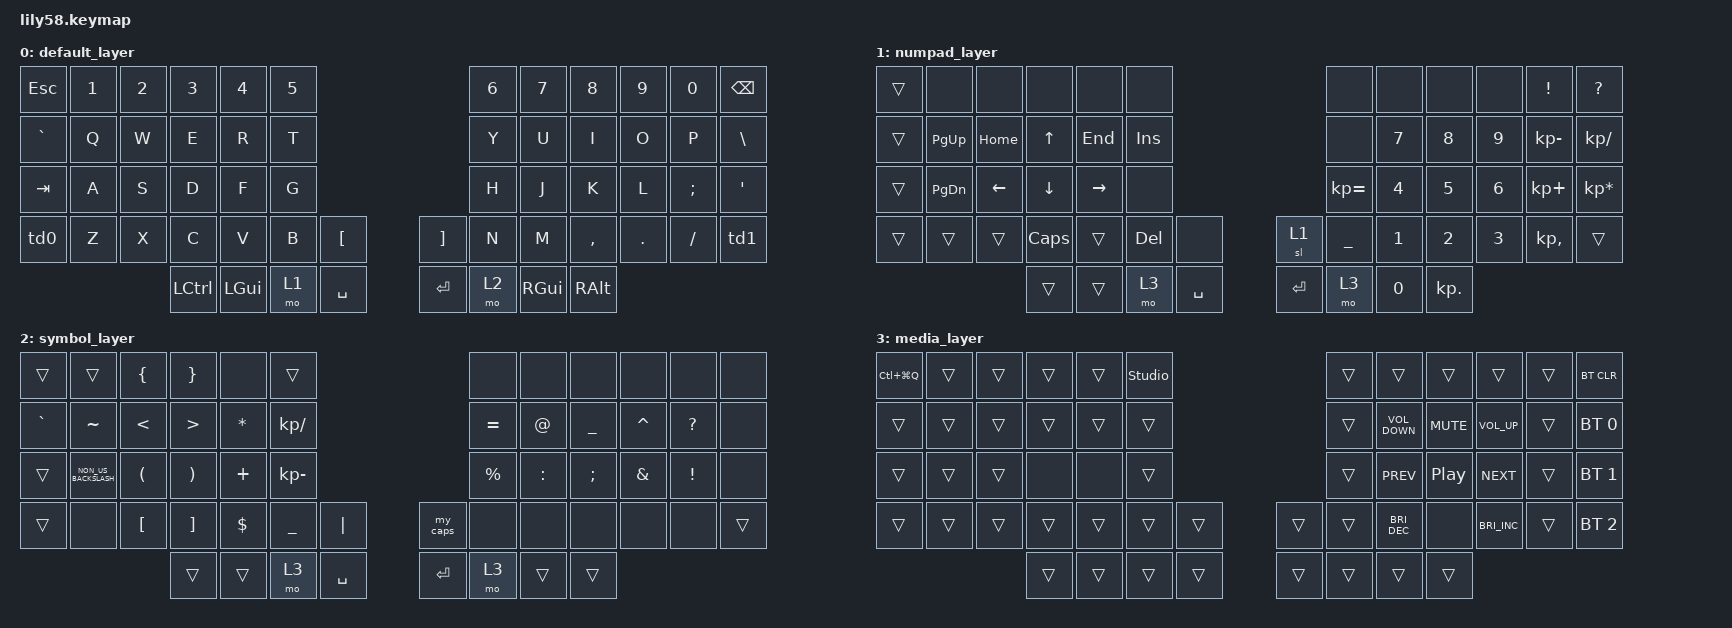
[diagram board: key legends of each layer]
/*
 * Copyright (c) 2020 The ZMK Contributors
 *
 * SPDX-License-Identifier: MIT
 */

#include <behaviors.dtsi>
#include <dt-bindings/zmk/bt.h>
#include <dt-bindings/zmk/keys.h>

/ {
    combos {
        compatible = "zmk,combos";

        LNG {
            bindings = <&kp LG(SPACE)>;
            key-positions = <36 49>;
            slow-release;
            require-prior-idle-ms = <0>;
        };
    };

    behaviors {
        td0: tap_dance_0 {
            compatible = "zmk,behavior-tap-dance";
            #binding-cells = <0>;
            tapping-term-ms = <5>;
            bindings = <&kp LSHFT>, <&kp CAPSLOCK>;
        };

        td1: tap_dance_1 {
            compatible = "zmk,behavior-tap-dance";
            #binding-cells = <0>;
            tapping-term-ms = <5>;
            bindings = <&kp LSHFT>, <&kp LG(SPACE)>;
        };

        my_caps: my_caps {
            compatible = "zmk,behavior-caps-word";
            label = "MY_CAPS";
            #binding-cells = <0>;
            continue-list = <A B C D E F G H I J K L M N O P Q R S T U V W X Y Z>;
        };

        td2: tap_dance_2 {
            compatible = "zmk,behavior-tap-dance";
            #binding-cells = <0>;
            bindings = <&kp LEFT_BRACKET>, <&kp LC(LG(Q))>;

            tapping-term-ms = <5>;
        };
    };

    keymap {
        compatible = "zmk,keymap";

        default_layer {
            // ------------------------------------------------------------------------------------------------------------
            // |  ESC  |  1  |  2  |  3   |  4   |  5   |                   |  6   |  7    |  8    |  9   |   0   |   `   |
            // |  TAB  |  Q  |  W  |  E   |  R   |  T   |                   |  Y   |  U    |  I    |  O   |   P   |   -   |
            // |  CTRL |  A  |  S  |  D   |  F   |  G   |                   |  H   |  J    |  K    |  L   |   ;   |   '   |
            // | SHIFT |  Z  |  X  |  C   |  V   |  B   |   "["  |  |  "]"  |  N   |  M    |  ,    |  .   |   /   | SHIFT |
            //                     | ALT  | GUI  | LOWER|  SPACE |  | ENTER | RAISE| BSPC  | GUI   |

            bindings = <
&kp ESCAPE  &kp N1  &kp N2  &kp N3     &kp N4        &kp N5                                         &kp N6  &kp N7    &kp N8         &kp N9   &kp N0    &kp BACKSPACE
&kp GRAVE   &kp Q   &kp W   &kp E      &kp R         &kp T                                          &kp Y   &kp U     &kp I          &kp O    &kp P     &kp BACKSLASH
&kp TAB     &kp A   &kp S   &kp D      &kp F         &kp G                                          &kp H   &kp J     &kp K          &kp L    &kp SEMI  &kp SQT
&td0        &kp Z   &kp X   &kp C      &kp V         &kp B   &kp LEFT_BRACKET    &kp RIGHT_BRACKET  &kp N   &kp M     &kp COMMA      &kp DOT  &kp FSLH  &td1
                            &kp LCTRL  &kp LEFT_GUI  &mo 1   &kp SPACE           &kp RET            &mo 2   &kp RGUI  &kp RIGHT_ALT
            >;
        };

        numpad_layer {
            // --------------------------------------------------------------------------------------------------------------
            // | LPAD  | BRDn | BRUp |  MUT |  Vo- |  Vo+ |                   |      |       |       |      |       |       |
            // |  F1   |  F2  |  F3  |  F4  |  F5  |  F6  |                   |  F7  |  F8   |  F9   |  F10 |  F11  |  F12  |
            // |   `   |  !   |  @   |  #   |  $   |  %   |                   |  ^   |  &    |  *    |  (   |   )   |   ~   |
            // |       |      |      |      |      |      |        |  |       |      |  _    |  +    |  {   |   }   |  "|"  |
            //                       |      |      |      |        |  |       |      |       |       |

            bindings = <
&trans  &none      &none           &none           &none            &none                               &none           &none         &none         &none         &kp EXCLAMATION  &kp QUESTION
&trans  &kp PG_UP  &kp HOME        &kp UP_ARROW    &kp END          &kp INSERT                          &none           &kp N7        &kp N8        &kp N9        &kp KP_SUBTRACT  &kp KP_DIVIDE
&trans  &kp PG_DN  &kp LEFT_ARROW  &kp DOWN_ARROW  &kp RIGHT_ARROW  &none                               &kp KP_EQUAL    &kp NUMBER_4  &kp NUMBER_5  &kp NUMBER_6  &kp KP_PLUS      &kp KP_ASTERISK
&trans  &trans     &trans          &kp CAPSLOCK    &trans           &kp DELETE  &none        &sl 1      &kp UNDERSCORE  &kp NUMBER_1  &kp NUMBER_2  &kp NUMBER_3  &kp KP_COMMA     &trans
                                   &trans          &trans           &mo 3       &kp SPACE    &kp ENTER  &mo 3           &kp NUMBER_0  &kp KP_DOT
            >;
        };

        symbol_layer {
            // ------------------------------------------------------------------------------------------------------------
            // |       |     |     |      |      |      |                   |      |       |       |      |       |       |
            // |   `   |  1  |  2  |  3   |  4   |  5   |                   |  6   |   7   |   8   |  9   |   0   |       |
            // |   F1  |  F2 |  F3 |  F4  |  F5  |  F6  |                   |      |   <-  |   v   |  ^   |  ->   |       |
            // |   F7  |  F8 |  F9 |  F10 |  F11 |  F12 |        |  |       |  +   |   -   |   =   |  [   |   ]   |   \   |
            //                     |      |      |      |        |  |       |      |       |       |

            bindings = <
&trans     &trans                &kp LEFT_BRACE        &kp RIGHT_BRACE        &none       &trans                                 &none        &none      &none           &none          &none            &none
&kp GRAVE  &kp TILDE             &kp LESS_THAN         &kp GREATER_THAN       &kp STAR    &kp KP_DIVIDE                          &kp EQUAL    &kp AT     &kp UNDERSCORE  &kp CARET      &kp QUESTION     &none
&trans     &kp NON_US_BACKSLASH  &kp LEFT_PARENTHESIS  &kp RIGHT_PARENTHESIS  &kp PLUS    &kp KP_MINUS                           &kp PERCENT  &kp COLON  &kp SEMICOLON   &kp AMPERSAND  &kp EXCLAMATION  &none
&trans     &none                 &kp LEFT_BRACKET      &kp RIGHT_BRACKET      &kp DOLLAR  &kp UNDER      &kp PIPE     &my_caps   &none        &none      &none           &none          &none            &trans
                                                       &trans                 &trans      &mo 3          &kp SPACE    &kp ENTER  &mo 3        &trans     &trans
            >;
        };

        media_layer {
            bindings = <
&kp LC(LG(Q))  &trans  &trans  &trans  &trans  &studio_unlock                    &trans  &trans             &trans            &trans           &trans  &bt BT_CLR
&trans         &trans  &trans  &trans  &trans  &trans                            &trans  &kp C_VOLUME_DOWN  &kp C_MUTE        &kp C_VOLUME_UP  &trans  &bt BT_SEL 0
&trans         &trans  &trans  &none   &none   &trans                            &trans  &kp C_PREV         &kp C_PLAY_PAUSE  &kp C_NEXT       &trans  &bt BT_SEL 1
&trans         &trans  &trans  &trans  &trans  &trans          &trans    &trans  &trans  &kp C_BRI_DEC      &none             &kp C_BRI_INC    &trans  &bt BT_SEL 2
                               &trans  &trans  &trans          &trans    &trans  &trans  &trans             &trans
            >;
        };
    };
};
